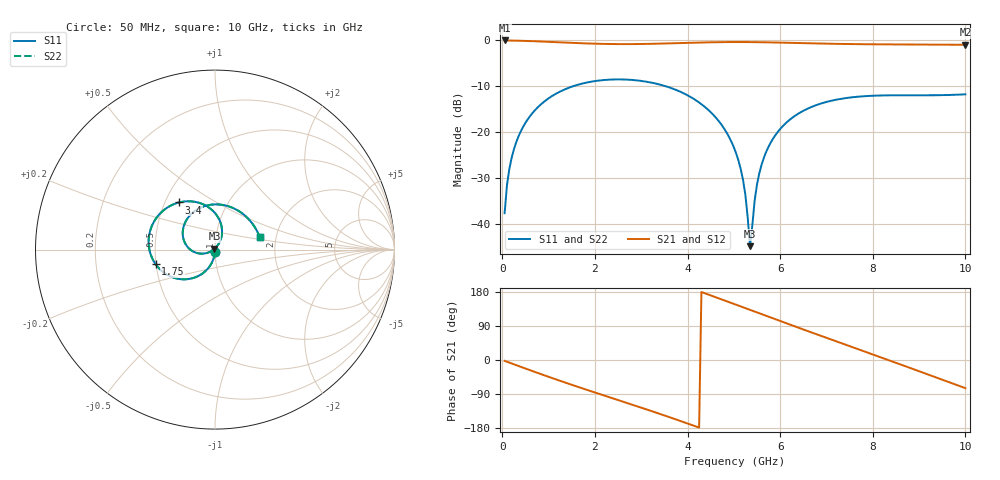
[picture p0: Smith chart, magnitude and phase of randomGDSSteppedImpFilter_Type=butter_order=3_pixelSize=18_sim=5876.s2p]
! freq	dB(S11)	phase(S11)	dB(S12)	phase(S12)
!  dB(S21)	phase(S21)	dB(S22)	phase(S22)
!S-par simulation data
#  GHz  S  DB  R 50
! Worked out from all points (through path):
!   200 points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, 50 MHz to 10 GHz, reference 50 ohm
!   highest |S21| = 0.00 dB at 50 MHz (marker M1); lowest = -0.9 dB at 10 GHz (marker M2)
!   group delay of S21, straight-line fit = 120 ps
!   lowest |S11| = -44.9 dB at 5.35 GHz (marker M3), VSWR 1.01, Z = 49.7 + j0.487 ohm
!   |S11| at or under -10 dB: start of sweep to 1.523 GHz; 3.533 GHz to end of sweep
!   |S22| runs from -44.7 to -8.5 dB; largest |S21 - S12| = 0
!   S11 on the Smith chart (normalised r, x): 50 MHz: 1.00, -0.03; 1.75 GHz: 0.50, -0.09; 3.4 GHz: 0.59, +0.35; 10 GHz: 1.64, +0.24
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0.05  -37.67 -92.2  -0.00 -2.3  -0.00 -2.3  -37.67 -92.2
0.1  -31.66 -94.6  -0.01 -4.6  -0.01 -4.6  -31.66 -94.6
0.2  -25.68 -99.4  -0.03 -9.1  -0.03 -9.1  -25.68 -99.4
0.5  -17.96 -113.1  -0.10 -22.5  -0.10 -22.5  -17.96 -113.1
1  -12.61 -135.0  -0.30 -44.4  -0.30 -44.4  -12.61 -135.0
1.75  -9.35 -166.3  -0.63 -75.7  -0.63 -75.7  -9.35 -166.3
2.55  -8.49 161.6  -0.80 -107.7  -0.80 -107.7  -8.49 161.6
3.4  -9.62 127.4  -0.69 -142.1  -0.69 -142.1  -9.62 127.5
3.95  -11.69 104.5  -0.54 -165.3  -0.54 -165.3  -11.69 104.5
4.45  -15.16 83.2  -0.41 172.8  -0.41 172.8  -15.16 83.2
4.8  -19.37 68.6  -0.36 157.1  -0.36 157.1  -19.37 68.7
5.05  -24.63 59.6  -0.34 145.8  -0.34 145.8  -24.63 59.7
5.25  -33.75 60.1  -0.35 136.7  -0.35 136.7  -33.74 60.4
5.35  -44.85 121.1  -0.36 132.2  -0.36 132.2  -44.72 121.3
5.5  -31.41 -156.7  -0.37 125.4  -0.37 125.4  -31.40 -156.9
5.7  -24.25 -159.6  -0.41 116.3  -0.41 116.3  -24.25 -159.6
6.1  -18.24 -175.2  -0.49 98.3  -0.49 98.3  -18.24 -175.1
6.7  -14.41 159.0  -0.64 71.7  -0.64 71.7  -14.41 159.0
7.6  -12.34 119.6  -0.80 32.2  -0.80 32.2  -12.34 119.7
8.35  -11.96 86.6  -0.86 -0.8  -0.86 -0.8  -11.97 86.7
9.1  -11.96 53.8  -0.89 -34.0  -0.89 -34.0  -11.96 53.9
10  -11.74 15.1  -0.95 -74.4  -0.95 -74.4  -11.74 15.2
